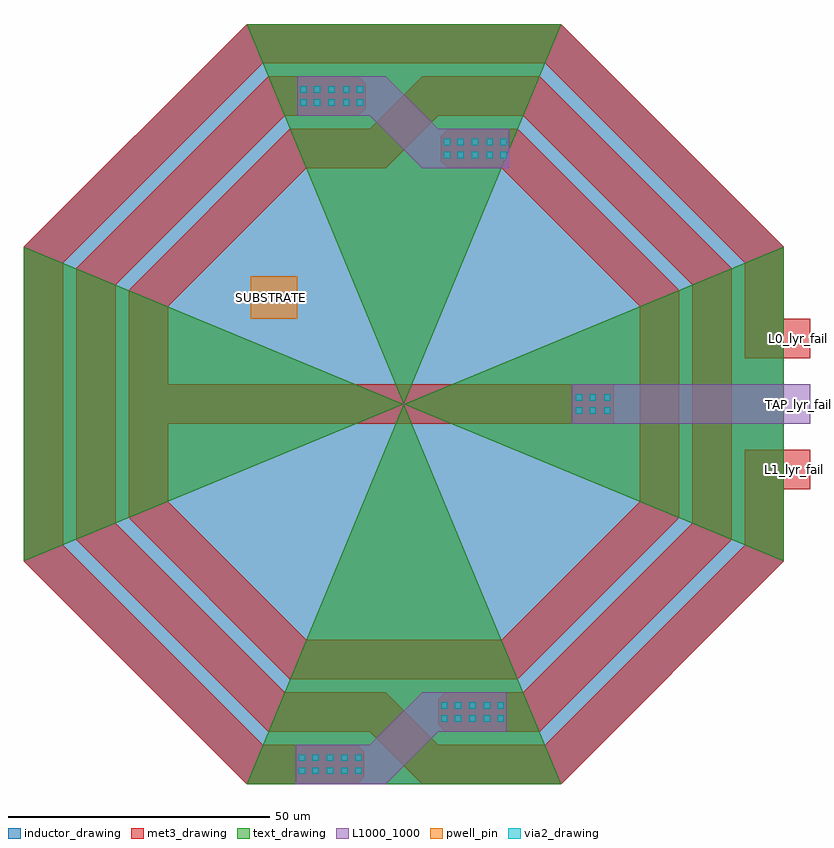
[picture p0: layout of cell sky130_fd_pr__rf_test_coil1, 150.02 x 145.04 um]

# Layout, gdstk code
import gdstk
lib = gdstk.Library(unit=1e-6, precision=1e-09)
def R(c, l, rs):  # rectangles x0, y0, x1, y1
    for r in rs: c.add(gdstk.rectangle(r[:2], r[2:], *l))
def A(c, l, x, y, w, h, nx, ny, dx, dy):  # array of equal rectangles
    R(c, l, [(x+i*dx, y+j*dy, x+i*dx+w, y+j*dy+h) for i in range(nx) for j in range(ny)])
def P(c, l, *ps):  # polygons
    for p in ps: c.add(gdstk.Polygon(p, *l))
via2_drawing = (69, 44)
met3_drawing = (70, 20)
inductor_drawing = (82, 24)
text_drawing = (83, 44)
pwell_pin = (122, 16)
L1000_1000 = (1000, 1000)

sky130_fd_pr__rf_test_co = lib.new_cell('sky130_fd_pr__rf_test_coil1')
A(sky130_fd_pr__rf_test_co, via2_drawing, -17.46, -70.595, 1.2, 1.2, 3, 2, 2.77, 2.47)
A(sky130_fd_pr__rf_test_co, via2_drawing, 9.71, -60.595, 1.2, 1.2, 3, 2, 2.77, 2.47)
A(sky130_fd_pr__rf_test_co, via2_drawing, 10.215, 46.91, 1.2, 1.2, 3, 2, 2.77, 2.47)
A(sky130_fd_pr__rf_test_co, via2_drawing, -17.17, 56.925, 1.2, 1.2, 3, 2, 2.77, 2.47)
R(sky130_fd_pr__rf_test_co, via2_drawing, [(-20.08,-70.595,-18.88,-69.395), (-9.3,-70.595,-8.1,-69.395), (-20.08,-68.125,-18.88,-66.925), (-9.3,-68.125,-8.1,-66.925), (7.09,-60.595,8.29,-59.395), (17.87,-60.595,19.07,-59.395), (7.09,-58.125,8.29,-56.925), (17.87,-58.125,19.07,-56.925), (32.8,-1.835,34,-0.635), (35.42,-1.835,36.62,-0.635), (38.19,-1.835,39.39,-0.635), (32.8,0.635,34,1.835), (35.42,0.635,36.62,1.835), (38.19,0.635,39.39,1.835), (7.595,46.91,8.795,48.11), (18.375,46.91,19.575,48.11), (7.595,49.38,8.795,50.58), (18.375,49.38,19.575,50.58), (-19.79,56.925,-18.59,58.125), (-9.01,56.925,-7.81,58.125), (-19.79,59.395,-18.59,60.595), (-9.01,59.395,-7.81,60.595)])
R(sky130_fd_pr__rf_test_co, met3_drawing, [(-20.615,-71.15,-7.545,-66.39), (6.555,-61.14,19.625,-56.38), (32.255,-2.38,39.785,2.38), (7.05,46.37,20.12,51.13), (-20.335,56.38,-7.265,61.14)])
P(sky130_fd_pr__rf_test_co, met3_drawing, [(67.215,24.74),(24.74,67.215),(30.045,72.52),(72.52,30.045)],
  [(3.445,-72.52),(-6.565,-62.51),(-25.9,-62.51),(-25.9,-55.02),(-3.445,-55.02),(6.555,-65.02),(30.045,-65.02),(30.045,-72.52)],
  [(30.045,-72.52),(24.74,-67.215),(67.215,-24.74),(72.52,-30.045)],
  [(-30.045,-72.52),(-72.52,-30.045),(-67.215,-24.74),(-24.74,-67.215)],
  [(-67.215,24.74),(-72.52,30.045),(-30.045,72.52),(-24.74,67.215)],
  [(-21.755,45),(-21.755,52.5),(-6.565,52.5),(3.445,62.51),(25.9,62.51),(25.9,55.01),(6.555,55.01),(-3.455,45)],
  [(57.205,20.595),(20.595,57.205),(25.9,62.51),(62.51,25.9)],
  [(25.9,-62.51),(20.595,-57.205),(57.205,-20.595),(62.51,-25.9)],
  [(-25.9,-62.51),(-62.51,-25.9),(-57.205,-20.595),(-20.595,-57.205)],
  [(-57.205,20.595),(-62.51,25.9),(-25.9,62.51),(-20.595,57.205)],
  [(47.195,16.45),(16.45,47.195),(21.755,52.5),(52.5,21.755)],
  [(21.755,-52.5),(16.45,-47.195),(47.195,-16.45),(52.5,-21.755)],
  [(-21.755,-52.5),(-52.5,-21.755),(-47.195,-16.45),(-16.45,-47.195)],
  [(-47.195,16.45),(-52.5,21.755),(-21.755,52.5),(-16.45,47.195)],
  [(-25.9,55.01),(-25.9,62.51),(-8.695,62.51),(-7.325,61.14),(-7.325,56.38),(-8.695,55.01)],
  [(-30.045,-72.52),(-30.045,-65.02),(-8.915,-65.02),(-7.545,-66.39),(-7.545,-71.15),(-8.915,-72.52)],
  [(7.925,-62.51),(6.555,-61.14),(6.555,-56.38),(7.925,-55.01),(25.9,-55.01),(25.9,-62.51)],
  [(8.42,45),(7.05,46.37),(7.05,51.13),(8.42,52.5),(21.755,52.5),(21.755,45)])
P(sky130_fd_pr__rf_test_co, inductor_drawing, [(-30.045,-72.52),(-72.52,-30.045),(-72.52,30.045),(-30.045,72.52),(30.045,72.52),(72.52,30.045),(72.52,-30.045),(30.045,-72.52)])
P(sky130_fd_pr__rf_test_co, text_drawing, [(72.52,-30.044),(0,0),(72.52,30.044)],
  [(-72.52,-30.044),(-72.52,30.044),(0,0)],
  [(-30.044,-72.52),(0,0),(30.044,-72.52)],
  [(0,0),(-30.044,72.52),(30.044,72.52)])
R(sky130_fd_pr__rf_test_co, pwell_pin, [(-29.216,16.287,-20.317,24.347)])
R(sky130_fd_pr__rf_test_co, L1000_1000, [(-20.52,-71.035,-7.66,-66.485), (6.65,-61.035,19.51,-56.485), (32.04,-3.75,77.5,3.75), (32.36,-2.275,39.68,2.275), (7.155,46.47,20.015,51.02), (-20.23,56.485,-7.37,61.035)])
P(sky130_fd_pr__rf_test_co, L1000_1000, [(-20.615,-72.52),(-20.615,-65.02),(-6.555,-65.02),(3.455,-55.01),(19.625,-55.01),(19.625,-62.51),(6.565,-62.51),(-3.445,-72.52)],
  [(-20.395,55.01),(-20.395,62.51),(-8.695,62.51),(-7.325,61.14),(-7.325,56.38),(-8.695,55.01)],
  [(3.455,45),(-6.555,55.01),(-20.395,55.01),(-20.395,62.51),(-3.445,62.51),(6.565,52.5),(20.12,52.5),(20.12,45)])
sky130_fd_pr__rf_test_co.add(gdstk.FlexPath([(30.045,68.77),(0,68.77)], 7.5, ends="flush", simple_path=True, layer=70, datatype=20))  # met3_drawing
sky130_fd_pr__rf_test_co.add(gdstk.FlexPath([(68.77,8.75),(68.77,30.045)], 7.5, ends="flush", simple_path=True, layer=70, datatype=20))  # met3_drawing
sky130_fd_pr__rf_test_co.add(gdstk.FlexPath([(-68.77,30.045),(-68.77,-30.045)], 7.5, ends="flush", simple_path=True, layer=70, datatype=20))  # met3_drawing
sky130_fd_pr__rf_test_co.add(gdstk.FlexPath([(0,68.77),(-30.045,68.77)], 7.5, ends="flush", simple_path=True, layer=70, datatype=20))  # met3_drawing
sky130_fd_pr__rf_test_co.add(gdstk.FlexPath([(58.76,-25.9),(58.76,25.9)], 7.5, ends="flush", simple_path=True, layer=70, datatype=20))  # met3_drawing
sky130_fd_pr__rf_test_co.add(gdstk.FlexPath([(65.02,-12.5),(77.5,-12.5)], 7.5, ends="flush", simple_path=True, layer=70, datatype=20))  # met3_drawing
sky130_fd_pr__rf_test_co.add(gdstk.FlexPath([(-58.76,25.9),(-58.76,-25.9)], 7.5, ends="flush", simple_path=True, layer=70, datatype=20))  # met3_drawing
sky130_fd_pr__rf_test_co.add(gdstk.FlexPath([(48.75,-21.755),(48.75,21.755)], 7.5, ends="flush", simple_path=True, layer=70, datatype=20))  # met3_drawing
sky130_fd_pr__rf_test_co.add(gdstk.FlexPath([(-21.755,-48.75),(21.755,-48.75)], 7.5, ends="flush", simple_path=True, layer=70, datatype=20))  # met3_drawing
sky130_fd_pr__rf_test_co.add(gdstk.FlexPath([(65.02,12.5),(77.5,12.5)], 7.5, ends="flush", simple_path=True, layer=70, datatype=20))  # met3_drawing
sky130_fd_pr__rf_test_co.add(gdstk.FlexPath([(-52.5,0),(40,0)], 7.5, ends="flush", simple_path=True, layer=70, datatype=20))  # met3_drawing
sky130_fd_pr__rf_test_co.add(gdstk.FlexPath([(-48.75,21.755),(-48.75,-21.755)], 7.5, ends="flush", simple_path=True, layer=70, datatype=20))  # met3_drawing
sky130_fd_pr__rf_test_co.add(gdstk.FlexPath([(68.77,-30.045),(68.77,-8.75)], 7.5, ends="flush", simple_path=True, layer=70, datatype=20))  # met3_drawing
sky130_fd_pr__rf_test_co.add(gdstk.Label('SUBSTRATE', (-25.354,20.317), layer=64, texttype=59))
sky130_fd_pr__rf_test_co.add(gdstk.Label('TAP_lyr_fail', (75.39,-0.168), layer=69, texttype=5))
sky130_fd_pr__rf_test_co.add(gdstk.Label('L0_lyr_fail', (75.223,12.425), layer=70, texttype=5))
sky130_fd_pr__rf_test_co.add(gdstk.Label('L1_lyr_fail', (74.551,-12.425), layer=70, texttype=5))

lib.write_gds('sky130_fd_pr__rf_test_coil1.gds')
